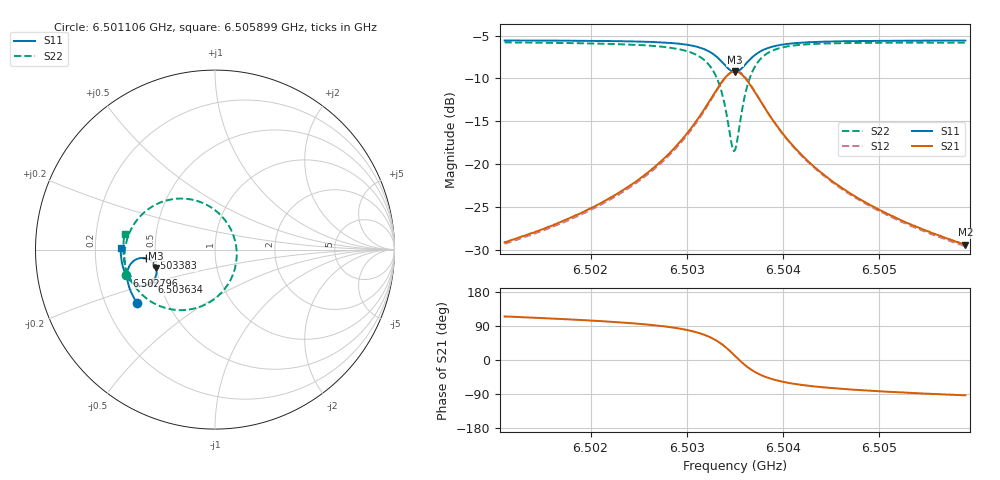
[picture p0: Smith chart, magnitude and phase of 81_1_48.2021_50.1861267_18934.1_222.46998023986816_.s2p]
#  HZ  S  RI  R  50.00
! Rohde & Schwarz Vector Network Analyzer
! Rohde-Schwarz,ZNB20-2Port,1311601062101988,3.16
! Created: UTC 3/20/2024, 11:39:41 AM
! freq[Hz]  re:S11  im:S11  re:S21  im:S21  re:S12  im:S12  re:S22  im:S22
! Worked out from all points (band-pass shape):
!   401 points, 6.501106 GHz to 6.505899 GHz, reference 50 ohm
!   highest |S21| = -9.18 dB at 6.503503 GHz (marker M1); lowest = -29.4 dB at 6.505899 GHz (marker M2)
!   |S21| within 3 dB of the highest: 6.503262 GHz to 6.503742 GHz (480.1 kHz wide, 0.00738 % of centre)
!   lowest |S11| = -9.3 dB at 6.503503 GHz (marker M3), VSWR 2.05, Z = 24.8 - j5.75 ohm
!   |S11| at or under -10 dB: nowhere
!   |S22| runs from -18.5 to -5.8 dB; largest |S21 - S12| = 0.012
!   S11 on the Smith chart (normalised r, x): 6.501106 GHz: 0.34, -0.28; 6.502796 GHz: 0.33, -0.13; 6.503383 GHz: 0.44, -0.05; 6.503634 GHz: 0.45, -0.20; 6.505899 GHz: 0.31, +0.01
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6.5011064e9  -0.4333 -0.2991  -0.0148 0.032  -0.0131 0.032  -0.494 -0.1389
6.5019092e9  -0.4668 -0.2384  -0.0139 0.0506  -0.0115 0.0499  -0.5046 -0.0505
6.5023644e9  -0.482 -0.1967  -0.0105 0.0716  -0.00737 0.0703  -0.4992 0.0175
6.5027119e9  -0.4895 -0.1566  -0.000677 0.1017  0.0029 0.0992  -0.4776 0.0917
6.5027958e9  -0.4899 -0.1449  0.00405 0.1125  0.00798 0.1094  -0.4667 0.1149
6.5029994e9  -0.4851 -0.1109  0.0276 0.1477  0.0311 0.1432  -0.4179 0.1844
6.5031432e9  -0.4704 -0.0808  0.0661 0.182  0.0689 0.176  -0.3427 0.2439
6.503287e9  -0.4312 -0.0511  0.1504 0.211  0.1509 0.2046  -0.1891 0.2844
6.5033349e9  -0.4094 -0.0463  0.194 0.2091  0.194 0.2035  -0.1125 0.2747
6.5033828e9  -0.3835 -0.0488  0.2442 0.193  0.2442 0.1885  -0.0267 0.2384
6.5034667e9  -0.3397 -0.0794  0.3238 0.1159  0.3263 0.1116  0.1003 0.0857
6.5035026e9  -0.3287 -0.1021  0.3413 0.0657  0.3451 0.0603  0.1207 -0.00878
6.5035266e9  -0.3258 -0.1188  0.3446 0.0301  0.3487 0.0234  0.1175 -0.0738
6.5035625e9  -0.3281 -0.1435  0.3367 -0.021  0.3404 -0.0302  0.0886 -0.1651
6.5036344e9  -0.351 -0.1815  0.2883 -0.0988  0.2882 -0.1107  -0.0257 -0.2905
6.5037303e9  -0.3928 -0.2016  0.208 -0.1427  0.203 -0.1531  -0.1894 -0.3373
6.503886e9  -0.443 -0.1942  0.1179 -0.1416  0.1106 -0.1473  -0.3531 -0.2917
6.5040538e9  -0.4726 -0.1731  0.069 -0.1201  0.0624 -0.1226  -0.4327 -0.2229
6.5043054e9  -0.4954 -0.1418  0.0354 -0.0927  0.0304 -0.0932  -0.4811 -0.1437
6.5046408e9  -0.5103 -0.1055  0.0166 -0.0694  0.013 -0.0689  -0.5035 -0.0715
6.5051081e9  -0.5206 -0.0614  0.00524 -0.0507  0.00302 -0.0499  -0.5108 -0.00142
6.5058988e9  -0.526 0.00643  -0.00184 -0.034  -0.00335 -0.0332  -0.5038 0.0851
